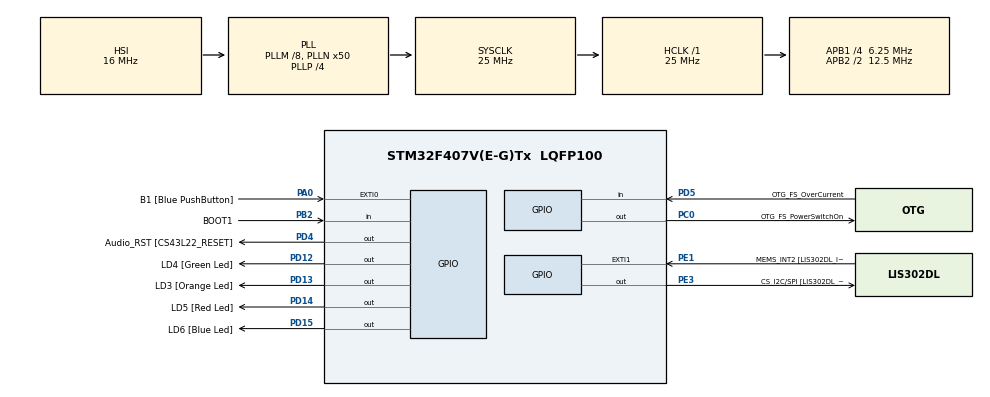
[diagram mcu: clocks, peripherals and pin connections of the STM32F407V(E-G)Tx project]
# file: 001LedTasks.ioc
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Mcu.Family=STM32F4
Mcu.Name=STM32F407V(E-G)Tx
Mcu.Package=LQFP100
NVIC.PriorityGroup=NVIC_PRIORITYGROUP_4
NVIC.TIM6_DAC_IRQn=true\:15\:0\:false\:false\:true\:false\:true\:true
NVIC.TimeBase=TIM6_DAC_IRQn
NVIC.TimeBaseIP=TIM6
PA0-WKUP.GPIO_Label=B1 [Blue PushButton]
PA0-WKUP.Signal=GPXTI0
PA10.GPIO_Label=OTG_FS_ID
PA10.GPIO_Mode=GPIO_MODE_AF_PP
PA10.GPIO_PuPd=GPIO_NOPULL
PA10.GPIO_Speed=GPIO_SPEED_FREQ_LOW
PA10.Signal=USB_OTG_FS_ID
PA11.GPIO_Label=OTG_FS_DM
PA11.GPIO_Mode=GPIO_MODE_AF_PP
PA11.GPIO_PuPd=GPIO_NOPULL
PA11.GPIO_Speed=GPIO_SPEED_FREQ_LOW
PA11.Signal=USB_OTG_FS_DM
PA12.GPIO_Label=OTG_FS_DP
PA12.GPIO_Mode=GPIO_MODE_AF_PP
PA12.GPIO_PuPd=GPIO_NOPULL
PA12.GPIO_Speed=GPIO_SPEED_FREQ_LOW
PA12.Signal=USB_OTG_FS_DP
PA13.GPIO_Label=SWDIO
PA13.Signal=SYS_JTMS-SWDIO
PA14.GPIO_Label=SWCLK
PA14.Signal=SYS_JTCK-SWCLK
PA4.GPIO_Label=I2S3_WS [CS43L22_LRCK]
PA4.GPIO_Mode=GPIO_MODE_AF_PP
PA4.GPIO_PuPd=GPIO_NOPULL
PA4.GPIO_Speed=GPIO_SPEED_FREQ_LOW
PA4.Signal=I2S3_WS
PA5.GPIO_Label=SPI1_SCK [LIS302DL_SCL/SPC]
PA5.GPIO_Mode=GPIO_MODE_AF_PP
PA5.GPIO_PuPd=GPIO_NOPULL
PA5.GPIO_Speed=GPIO_SPEED_FREQ_LOW
PA5.Signal=SPI1_SCK
PA6.GPIO_Label=SPI1_MISO [LIS302DL_SDO]
PA6.GPIO_Mode=GPIO_MODE_AF_PP
PA6.GPIO_PuPd=GPIO_NOPULL
PA6.GPIO_Speed=GPIO_SPEED_FREQ_LOW
PA6.Signal=SPI1_MISO
PA7.GPIO_Label=SPI1_MOSI [LIS302DL_SDA/SDI/SDO]
PA7.GPIO_Mode=GPIO_MODE_AF_PP
PA7.GPIO_PuPd=GPIO_NOPULL
PA7.GPIO_Speed=GPIO_SPEED_FREQ_LOW
PA7.Signal=SPI1_MOSI
PA9.GPIO_Label=VBUS_FS
PA9.GPIO_Mode=GPIO_MODE_INPUT
PA9.GPIO_PuPd=GPIO_NOPULL
PA9.Signal=USB_OTG_FS_VBUS
PB10.GPIO_Label=CLK_IN [MP45DT02_CLK]
PB10.GPIO_Mode=GPIO_MODE_AF_PP
PB10.GPIO_PuPd=GPIO_NOPULL
PB10.GPIO_Speed=GPIO_SPEED_FREQ_LOW
PB10.Signal=I2S2_CK
PB2.GPIO_Label=BOOT1
PB2.GPIO_Mode=GPIO_MODE_INPUT
PB2.GPIO_PuPd=GPIO_NOPULL
PB2.Signal=GPIO_Input
PB3.GPIO_Label=SWO
PB3.Signal=SYS_JTDO-SWO
PB6.GPIO_Label=Audio_SCL [CS43L22_SCL]
PB6.GPIO_Mode=GPIO_MODE_AF_OD
PB6.GPIO_PuPd=GPIO_NOPULL
PB6.GPIO_Speed=GPIO_SPEED_FREQ_LOW
PB6.Signal=I2C1_SCL
PB9.GPIO_Label=Audio_SDA [CS43L22_SDA]
PB9.GPIO_Mode=GPIO_MODE_AF_OD
PB9.GPIO_PuPd=GPIO_NOPULL
PB9.GPIO_Speed=GPIO_SPEED_FREQ_LOW
PB9.Signal=I2C1_SDA
PC0.GPIO_Label=OTG_FS_PowerSwitchOn
PC0.GPIO_PuPd=GPIO_NOPULL
PC0.GPIO_Speed=GPIO_SPEED_FREQ_LOW
PC0.PinState=GPIO_PIN_SET
PC0.Signal=GPIO_Output
PC10.GPIO_Label=I2S3_SCK [CS43L22_SCLK]
PC10.GPIO_Mode=GPIO_MODE_AF_PP
PC10.GPIO_PuPd=GPIO_NOPULL
PC10.GPIO_Speed=GPIO_SPEED_FREQ_LOW
PC10.Signal=I2S3_CK
PC12.GPIO_Label=I2S3_SD [CS43L22_SDIN]
PC12.GPIO_Mode=GPIO_MODE_AF_PP
PC12.GPIO_PuPd=GPIO_NOPULL
PC12.GPIO_Speed=GPIO_SPEED_FREQ_LOW
PC12.Signal=I2S3_SD
PC14-OSC32_IN.GPIO_Label=PC14-OSC32_IN
PC14-OSC32_IN.Signal=RCC_OSC32_IN
PC15-OSC32_OUT.GPIO_Label=PC15-OSC32_OUT
PC15-OSC32_OUT.Signal=RCC_OSC32_OUT
PC3.GPIO_Label=PDM_OUT [MP45DT02_DOUT]
PC3.GPIO_Mode=GPIO_MODE_AF_PP
PC3.GPIO_PuPd=GPIO_NOPULL
PC3.GPIO_Speed=GPIO_SPEED_FREQ_LOW
PC3.Signal=I2S2_SD
PC7.GPIO_Label=I2S3_MCK [CS43L22_MCLK]
PC7.GPIO_Mode=GPIO_MODE_AF_PP
PC7.GPIO_PuPd=GPIO_NOPULL
PC7.GPIO_Speed=GPIO_SPEED_FREQ_LOW
PC7.Signal=I2S3_MCK
PD12.GPIO_Label=LD4 [Green Led]
PD12.GPIO_PuPd=GPIO_NOPULL
PD12.GPIO_Speed=GPIO_SPEED_FREQ_LOW
PD12.Signal=GPIO_Output
PD13.GPIO_Label=LD3 [Orange Led]
PD13.GPIO_PuPd=GPIO_NOPULL
PD13.GPIO_Speed=GPIO_SPEED_FREQ_LOW
PD13.Signal=GPIO_Output
PD14.GPIO_Label=LD5 [Red Led]
PD14.GPIO_PuPd=GPIO_NOPULL
PD14.GPIO_Speed=GPIO_SPEED_FREQ_LOW
PD14.Signal=GPIO_Output
PD15.GPIO_Label=LD6 [Blue Led]
PD15.GPIO_PuPd=GPIO_NOPULL
PD15.GPIO_Speed=GPIO_SPEED_FREQ_LOW
PD15.Signal=GPIO_Output
PD4.GPIO_Label=Audio_RST [CS43L22_RESET]
PD4.GPIO_PuPd=GPIO_NOPULL
PD4.GPIO_Speed=GPIO_SPEED_FREQ_LOW
PD4.Signal=GPIO_Output
PD5.GPIO_Label=OTG_FS_OverCurrent
PD5.GPIO_Mode=GPIO_MODE_INPUT
PD5.GPIO_PuPd=GPIO_NOPULL
PD5.Signal=GPIO_Input
PE1.GPIO_Label=MEMS_INT2 [LIS302DL_INT2]
PE1.GPIO_ModeDefaultEXTI=GPIO_MODE_EVT_RISING
PE1.GPIO_PuPd=GPIO_NOPULL
PE1.Signal=GPXTI1
PE3.GPIO_Label=CS_I2C/SPI [LIS302DL_CS_I2C/SPI]
PE3.GPIO_PuPd=GPIO_NOPULL
PE3.GPIO_Speed=GPIO_SPEED_FREQ_LOW
PE3.Signal=GPIO_Output
PH0-OSC_IN.GPIO_Label=PH0-OSC_IN
PH0-OSC_IN.Signal=RCC_OSC_IN
PH1-OSC_OUT.GPIO_Label=PH1-OSC_OUT
PH1-OSC_OUT.Signal=RCC_OSC_OUT
ProjectManager.HeapSize=0x200
ProjectManager.StackSize=0x400
ProjectManager.TargetToolchain=STM32CubeIDE
RCC.48MHZClocksFreq_Value=14285714.285714285
RCC.AHBFreq_Value=25000000
RCC.APB1CLKDivider=RCC_HCLK_DIV4
RCC.APB1Freq_Value=6250000
RCC.APB1TimFreq_Value=12500000
RCC.APB2CLKDivider=RCC_HCLK_DIV2
RCC.APB2Freq_Value=12500000
RCC.APB2TimFreq_Value=25000000
RCC.CortexFreq_Value=25000000
RCC.HCLKFreq_Value=25000000
RCC.HSE_VALUE=8000000
RCC.HSI_VALUE=16000000
RCC.LSE_VALUE=32768
RCC.PLLM=8
RCC.PLLN=50
RCC.PLLP=RCC_PLLP_DIV4
RCC.PLLQ=7
RCC.SYSCLKFreq_VALUE=25000000
RCC.SYSCLKSource=RCC_SYSCLKSOURCE_PLLCLK
RCC.VCOOutputFreq_Value=100000000
VP_SYS_VS_tim6.Mode=TIM6
board=STM32F407G-DISC1

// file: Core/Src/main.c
/* USER CODE BEGIN Header */
/**
  ******************************************************************************
  * @file           : main.c
  * @brief          : Main program body
  ******************************************************************************
  * @attention
  *
  * Copyright (c) 2023 STMicroelectronics.
  * All rights reserved.
  *
  * This software is licensed under terms that can be found in the LICENSE file
  * in the root directory of this software component.
  * If no LICENSE file comes with this software, it is provided AS-IS.
  *
  ******************************************************************************
  */
/* USER CODE END Header */
#include "main.h"

/* USER CODE BEGIN Includes */
#include <stdio.h>

#include "../../ThirdParty/FreeRTOS/include/FreeRTOS.h"
#include "../../ThirdParty/FreeRTOS/include/task.h"
/* USER CODE END Includes */

/* USER CODE BEGIN PD */
static void led_green_handler(void* parameters);
static void lead_red_handler(void* parameters);
static void led_orange_handler(void* parameters);
/* USER CODE END PD */

/* USER CODE BEGIN PV */
#define DWT_CTRL	(*(volatile uint32_t*)0xE0001000)

/* USER CODE END PV */

void SystemClock_Config(void);
static void MX_GPIO_Init(void);

int main(void)
{
  /* USER CODE BEGIN 1 */
	TaskHandle_t task1_handle;
	TaskHandle_t task2_handle;
	TaskHandle_t task3_handle;

	BaseType_t status;
  /* USER CODE END 1 */

  /* MCU Configuration--------------------------------------------------------*/

  /* Reset of all peripherals, Initializes the Flash interface and the Systick. */
  HAL_Init();

  /* Configure the system clock */
  SystemClock_Config();

  /* Initialize all configured peripherals */
  MX_GPIO_Init();
  /* USER CODE BEGIN 2 */

  DWT_CTRL |= (1 << 0);

  SEGGER_SYSVIEW_Conf();
  SEGGER_SYSVIEW_Start();

  status = xTaskCreate(led_green_handler, "led-green-task", 200, NULL, 2, &task1_handle);

  configASSERT(status == pdPASS);

  status = xTaskCreate(lead_red_handler, "led-red-handler", 200, NULL, 2, &task2_handle);

  configASSERT(status == pdPASS);

  status = xTaskCreate(led_orange_handler, "led-orange-handler", 200, NULL, 2, &task3_handle);

  configASSERT(status == pdPASS);

  //start the freeRTOS scheduler
  vTaskStartScheduler();

  /* USER CODE END 2 */

  /* Infinite loop */
  while (1)
  {

  }
}

void SystemClock_Config(void)
{
  RCC_OscInitTypeDef RCC_OscInitStruct = {0};
  RCC_ClkInitTypeDef RCC_ClkInitStruct = {0};

  /** Configure the main internal regulator output voltage
  */
  __HAL_RCC_PWR_CLK_ENABLE();
  __HAL_PWR_VOLTAGESCALING_CONFIG(PWR_REGULATOR_VOLTAGE_SCALE1);

  /** Initializes the RCC Oscillators according to the specified parameters
  * in the RCC_OscInitTypeDef structure.
  */
  RCC_OscInitStruct.OscillatorType = RCC_OSCILLATORTYPE_HSI;
  RCC_OscInitStruct.HSIState = RCC_HSI_ON;
  RCC_OscInitStruct.HSICalibrationValue = RCC_HSICALIBRATION_DEFAULT;
  RCC_OscInitStruct.PLL.PLLState = RCC_PLL_ON;
  RCC_OscInitStruct.PLL.PLLSource = RCC_PLLSOURCE_HSI;
  RCC_OscInitStruct.PLL.PLLM = 8;
  RCC_OscInitStruct.PLL.PLLN = 50;
  RCC_OscInitStruct.PLL.PLLP = RCC_PLLP_DIV4;
  RCC_OscInitStruct.PLL.PLLQ = 7;
  if (HAL_RCC_OscConfig(&RCC_OscInitStruct) != HAL_OK)
  {
    Error_Handler();
  }

  /** Initializes the CPU, AHB and APB buses clocks
  */
  RCC_ClkInitStruct.ClockType = RCC_CLOCKTYPE_HCLK|RCC_CLOCKTYPE_SYSCLK
                              |RCC_CLOCKTYPE_PCLK1|RCC_CLOCKTYPE_PCLK2;
  RCC_ClkInitStruct.SYSCLKSource = RCC_SYSCLKSOURCE_PLLCLK;
  RCC_ClkInitStruct.AHBCLKDivider = RCC_SYSCLK_DIV1;
  RCC_ClkInitStruct.APB1CLKDivider = RCC_HCLK_DIV4;
  RCC_ClkInitStruct.APB2CLKDivider = RCC_HCLK_DIV2;

  if (HAL_RCC_ClockConfig(&RCC_ClkInitStruct, FLASH_LATENCY_0) != HAL_OK)
  {
    Error_Handler();
  }
}

static void MX_GPIO_Init(void)
{
  GPIO_InitTypeDef GPIO_InitStruct = {0};

  /* GPIO Ports Clock Enable */
  __HAL_RCC_GPIOE_CLK_ENABLE();
  __HAL_RCC_GPIOC_CLK_ENABLE();
  __HAL_RCC_GPIOH_CLK_ENABLE();
  __HAL_RCC_GPIOA_CLK_ENABLE();
  __HAL_RCC_GPIOB_CLK_ENABLE();
  __HAL_RCC_GPIOD_CLK_ENABLE();

  /*Configure GPIO pin Output Level */
  HAL_GPIO_WritePin(CS_I2C_SPI_GPIO_Port, CS_I2C_SPI_Pin, GPIO_PIN_RESET);

  /*Configure GPIO pin Output Level */
  HAL_GPIO_WritePin(OTG_FS_PowerSwitchOn_GPIO_Port, OTG_FS_PowerSwitchOn_Pin, GPIO_PIN_SET);

  /*Configure GPIO pin Output Level */
  HAL_GPIO_WritePin(GPIOD, LD4_Pin|LD3_Pin|LD5_Pin|LD6_Pin
                          |Audio_RST_Pin, GPIO_PIN_RESET);

  /*Configure GPIO pin : CS_I2C_SPI_Pin */
  GPIO_InitStruct.Pin = CS_I2C_SPI_Pin;
  GPIO_InitStruct.Mode = GPIO_MODE_OUTPUT_PP;
  GPIO_InitStruct.Pull = GPIO_NOPULL;
  GPIO_InitStruct.Speed = GPIO_SPEED_FREQ_LOW;
  HAL_GPIO_Init(CS_I2C_SPI_GPIO_Port, &GPIO_InitStruct);

  /*Configure GPIO pin : OTG_FS_PowerSwitchOn_Pin */
  GPIO_InitStruct.Pin = OTG_FS_PowerSwitchOn_Pin;
  GPIO_InitStruct.Mode = GPIO_MODE_OUTPUT_PP;
  GPIO_InitStruct.Pull = GPIO_NOPULL;
  GPIO_InitStruct.Speed = GPIO_SPEED_FREQ_LOW;
  HAL_GPIO_Init(OTG_FS_PowerSwitchOn_GPIO_Port, &GPIO_InitStruct);

  /*Configure GPIO pin : PDM_OUT_Pin */
  GPIO_InitStruct.Pin = PDM_OUT_Pin;
  GPIO_InitStruct.Mode = GPIO_MODE_AF_PP;
  GPIO_InitStruct.Pull = GPIO_NOPULL;
  GPIO_InitStruct.Speed = GPIO_SPEED_FREQ_LOW;
  GPIO_InitStruct.Alternate = GPIO_AF5_SPI2;
  HAL_GPIO_Init(PDM_OUT_GPIO_Port, &GPIO_InitStruct);

  /*Configure GPIO pin : B1_Pin */
  GPIO_InitStruct.Pin = B1_Pin;
  GPIO_InitStruct.Mode = GPIO_MODE_IT_RISING;
  GPIO_InitStruct.Pull = GPIO_NOPULL;
  HAL_GPIO_Init(B1_GPIO_Port, &GPIO_InitStruct);

  /*Configure GPIO pin : I2S3_WS_Pin */
  GPIO_InitStruct.Pin = I2S3_WS_Pin;
  GPIO_InitStruct.Mode = GPIO_MODE_AF_PP;
  GPIO_InitStruct.Pull = GPIO_NOPULL;
  GPIO_InitStruct.Speed = GPIO_SPEED_FREQ_LOW;
  GPIO_InitStruct.Alternate = GPIO_AF6_SPI3;
  HAL_GPIO_Init(I2S3_WS_GPIO_Port, &GPIO_InitStruct);

  /*Configure GPIO pins : SPI1_SCK_Pin SPI1_MISO_Pin SPI1_MOSI_Pin */
  GPIO_InitStruct.Pin = SPI1_SCK_Pin|SPI1_MISO_Pin|SPI1_MOSI_Pin;
  GPIO_InitStruct.Mode = GPIO_MODE_AF_PP;
  GPIO_InitStruct.Pull = GPIO_NOPULL;
  GPIO_InitStruct.Speed = GPIO_SPEED_FREQ_LOW;
  GPIO_InitStruct.Alternate = GPIO_AF5_SPI1;
  HAL_GPIO_Init(GPIOA, &GPIO_InitStruct);

  /*Configure GPIO pin : BOOT1_Pin */
  GPIO_InitStruct.Pin = BOOT1_Pin;
  GPIO_InitStruct.Mode = GPIO_MODE_INPUT;
  GPIO_InitStruct.Pull = GPIO_NOPULL;
  HAL_GPIO_Init(BOOT1_GPIO_Port, &GPIO_InitStruct);

  /*Configure GPIO pin : CLK_IN_Pin */
  GPIO_InitStruct.Pin = CLK_IN_Pin;
  GPIO_InitStruct.Mode = GPIO_MODE_AF_PP;
  GPIO_InitStruct.Pull = GPIO_NOPULL;
  GPIO_InitStruct.Speed = GPIO_SPEED_FREQ_LOW;
  GPIO_InitStruct.Alternate = GPIO_AF5_SPI2;
  HAL_GPIO_Init(CLK_IN_GPIO_Port, &GPIO_InitStruct);

  /*Configure GPIO pins : LD4_Pin LD3_Pin LD5_Pin LD6_Pin
                           Audio_RST_Pin */
  GPIO_InitStruct.Pin = LD4_Pin|LD3_Pin|LD5_Pin|LD6_Pin
                          |Audio_RST_Pin;
  GPIO_InitStruct.Mode = GPIO_MODE_OUTPUT_PP;
  GPIO_InitStruct.Pull = GPIO_NOPULL;
  GPIO_InitStruct.Speed = GPIO_SPEED_FREQ_LOW;
  HAL_GPIO_Init(GPIOD, &GPIO_InitStruct);

  /*Configure GPIO pins : I2S3_MCK_Pin I2S3_SCK_Pin I2S3_SD_Pin */
  GPIO_InitStruct.Pin = I2S3_MCK_Pin|I2S3_SCK_Pin|I2S3_SD_Pin;
  GPIO_InitStruct.Mode = GPIO_MODE_AF_PP;
  GPIO_InitStruct.Pull = GPIO_NOPULL;
  GPIO_InitStruct.Speed = GPIO_SPEED_FREQ_LOW;
  GPIO_InitStruct.Alternate = GPIO_AF6_SPI3;
  HAL_GPIO_Init(GPIOC, &GPIO_InitStruct);

  /*Configure GPIO pin : VBUS_FS_Pin */
  GPIO_InitStruct.Pin = VBUS_FS_Pin;
  GPIO_InitStruct.Mode = GPIO_MODE_INPUT;
  GPIO_InitStruct.Pull = GPIO_NOPULL;
  HAL_GPIO_Init(VBUS_FS_GPIO_Port, &GPIO_InitStruct);

  /*Configure GPIO pins : OTG_FS_ID_Pin OTG_FS_DM_Pin OTG_FS_DP_Pin */
  GPIO_InitStruct.Pin = OTG_FS_ID_Pin|OTG_FS_DM_Pin|OTG_FS_DP_Pin;
  GPIO_InitStruct.Mode = GPIO_MODE_AF_PP;
  GPIO_InitStruct.Pull = GPIO_NOPULL;
  GPIO_InitStruct.Speed = GPIO_SPEED_FREQ_LOW;
  GPIO_InitStruct.Alternate = GPIO_AF10_OTG_FS;
  HAL_GPIO_Init(GPIOA, &GPIO_InitStruct);

  /*Configure GPIO pin : OTG_FS_OverCurrent_Pin */
  GPIO_InitStruct.Pin = OTG_FS_OverCurrent_Pin;
  GPIO_InitStruct.Mode = GPIO_MODE_INPUT;
  GPIO_InitStruct.Pull = GPIO_NOPULL;
  HAL_GPIO_Init(OTG_FS_OverCurrent_GPIO_Port, &GPIO_InitStruct);

  /*Configure GPIO pins : Audio_SCL_Pin Audio_SDA_Pin */
  GPIO_InitStruct.Pin = Audio_SCL_Pin|Audio_SDA_Pin;
  GPIO_InitStruct.Mode = GPIO_MODE_AF_OD;
  GPIO_InitStruct.Pull = GPIO_NOPULL;
  GPIO_InitStruct.Speed = GPIO_SPEED_FREQ_LOW;
  GPIO_InitStruct.Alternate = GPIO_AF4_I2C1;
  HAL_GPIO_Init(GPIOB, &GPIO_InitStruct);

  /*Configure GPIO pin : MEMS_INT2_Pin */
  GPIO_InitStruct.Pin = MEMS_INT2_Pin;
  GPIO_InitStruct.Mode = GPIO_MODE_EVT_RISING;
  GPIO_InitStruct.Pull = GPIO_NOPULL;
  HAL_GPIO_Init(MEMS_INT2_GPIO_Port, &GPIO_InitStruct);

}

/* USER CODE BEGIN 4 */
void led_green_handler(void* parameters)
{
		while(1)
		{
			HAL_GPIO_TogglePin(GPIOD, LED_GREEN_PIN);
			vTaskDelay(pdMS_TO_TICKS(1000));
		}

}

void lead_red_handler(void* parameters)
{
	while(1)
	{
		HAL_GPIO_TogglePin(GPIOD, LED_RED_PIN);
		vTaskDelay(pdMS_TO_TICKS(800));
	}

}

void led_orange_handler(void* parameters)
{
	while(1)
	{
		HAL_GPIO_TogglePin(GPIOD, LED_ORANGE_PIN);
		vTaskDelay(pdMS_TO_TICKS(400));
	}

}
/* USER CODE END 4 */

void HAL_TIM_PeriodElapsedCallback(TIM_HandleTypeDef *htim)
{
  if (htim->Instance == TIM6) {
    HAL_IncTick();
  }
}

void Error_Handler(void)
{
  __disable_irq();
  while (1)
  {
  }
}
